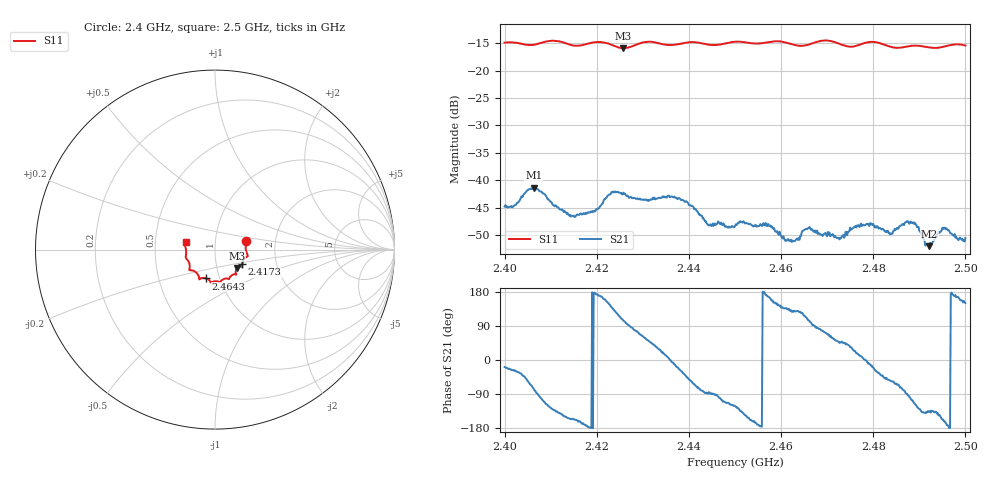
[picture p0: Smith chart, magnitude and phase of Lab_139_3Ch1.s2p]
# Hz S RI R 50
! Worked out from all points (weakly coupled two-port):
!   601 points, 2.4 GHz to 2.5 GHz, reference 50 ohm
!   highest |S21| = -41.33 dB at 2.4063 GHz (marker M1); lowest = -52.0 dB at 2.4922 GHz (marker M2)
!   lowest |S11| = -15.9 dB at 2.4257 GHz (marker M3), VSWR 1.38, Z = 62.5 - j13.1 ohm
!   |S11| at or under -10 dB: start of sweep to end of sweep
!   S12 and S22 are empty: the file has one direction only
!   S11 on the Smith chart (normalised r, x): 2.4 GHz: 1.41, +0.14; 2.4173 GHz: 1.34, -0.23; 2.4643 GHz: 0.86, -0.28; 2.5 GHz: 0.72, +0.06
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2.4e9  0.1731 0.0487  0.00548 -0.00184  0 0  0 0
2.406333e9  0.1721 -0.00213  0.00199 -0.00834  0 0  0 0
2.414e9  0.1663 -0.0474  -0.00429 -0.00211  0 0  0 0
2.416667e9  0.1526 -0.0748  -0.00478 -0.00113  0 0  0 0
2.417333e9  0.1516 -0.0822  -0.0049 -0.000812  0 0  0 0
2.423167e9  0.1441 -0.094  -0.00594 0.00506  0 0  0 0
2.425667e9  0.1229 -0.1022  -0.00208 0.00723  0 0  0 0
2.433333e9  0.1127 -0.1376  0.006 0.00347  0 0  0 0
2.439167e9  0.0794 -0.16  0.00491 -0.00405  0 0  0 0
2.4445e9  0.0596 -0.161  0.000107 -0.00393  0 0  0 0
2.45e9  0.0288 -0.1809  -0.00201 -0.00326  0 0  0 0
2.457167e9  -0.0151 -0.1806  -0.00392 0.000847  0 0  0 0
2.461333e9  -0.0276 -0.1765  -0.00199 0.00202  0 0  0 0
2.464333e9  -0.0499 -0.1604  -0.00176 0.00258  0 0  0 0
2.466667e9  -0.0759 -0.1591  -0.000337 0.00358  0 0  0 0
2.4725e9  -0.0893 -0.1518  0.002 0.00223  0 0  0 0
2.479e9  -0.141 -0.1148  0.00398 -0.000584  0 0  0 0
2.483333e9  -0.1406 -0.0899  0.00203 -0.00263  0 0  0 0
2.488667e9  -0.1619 -0.047  -0.00139 -0.00392  0 0  0 0
2.492167e9  -0.1608 -0.0239  -0.00184 -0.00172  0 0  0 0
2.4955e9  -0.1651 0.0147  -0.00351 -0.00115  0 0  0 0
2.5e9  -0.1639 0.0426  -0.0026 0.00148  0 0  0 0
